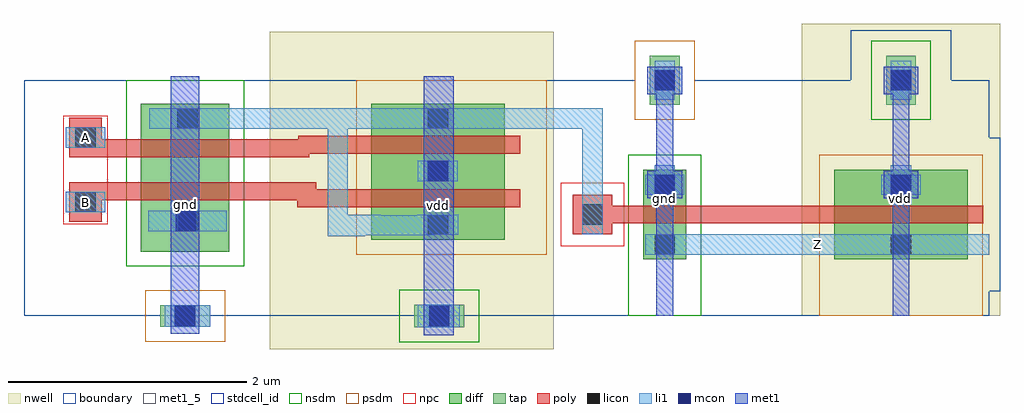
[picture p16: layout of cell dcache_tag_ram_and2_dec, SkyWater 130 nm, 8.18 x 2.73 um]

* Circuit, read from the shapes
.subckt dcache_tag_ram_and2_dec A B Z gnd vdd
XM1 n1 B gnd gnd sky130_fd_pr__nfet_01v8 w=0.74 l=0.15
XM2 dcache_tag_ram_pinv_dec_1/A A n1 gnd sky130_fd_pr__nfet_01v8 w=0.74 l=0.15
XM3 gnd dcache_tag_ram_pinv_dec_1/A Z gnd sky130_fd_pr__nfet_01v8 w=0.36 l=0.15
XM4 vdd B dcache_tag_ram_pinv_dec_1/A vdd sky130_fd_pr__pfet_01v8 w=1.12 l=0.15
XM5 dcache_tag_ram_pinv_dec_1/A A vdd vdd sky130_fd_pr__pfet_01v8 w=1.12 l=0.15
XM6 vdd dcache_tag_ram_pinv_dec_1/A Z vdd sky130_fd_pr__pfet_01v8 w=1.12 l=0.15
.ends

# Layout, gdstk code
from math import pi, radians
import gdstk
lib = gdstk.Library(unit=1e-6, precision=1e-09)
def R(c, l, rs):  # rectangles x0, y0, x1, y1
    for r in rs: c.add(gdstk.rectangle(r[:2], r[2:], *l))
nwell = (64, 20)
diff = (65, 20)
tap = (65, 44)
poly = (66, 20)
licon = (66, 44)
li1 = (67, 20)
mcon = (67, 44)
met1_5 = (68, 5)
met1 = (68, 20)
stdcell_id = (81, 4)
nsdm = (93, 44)
psdm = (94, 20)
npc = (95, 20)
boundary = (235, 4)

sky130_fd_bd_sram__openr = lib.new_cell('sky130_fd_bd_sram__openram_dp_nand2_dec')
R(sky130_fd_bd_sram__openr, nwell, [(2.06,-0.28,4.44,2.38)])
R(sky130_fd_bd_sram__openr, diff, [(0.98,0.54,1.72,1.78), (2.91,0.64,4.03,1.78)])
R(sky130_fd_bd_sram__openr, tap, [(3.27,-0.095,3.69,0.095), (1.14,-0.09,1.56,0.09)])
R(sky130_fd_bd_sram__openr, poly, [(0.38,0.79,0.65,0.97), (2.29,0.91,4.16,0.97), (0.38,0.97,4.16,1.06), (0.38,1.06,2.45,1.12), (0.38,1.33,2.39,1.36), (0.38,1.36,4.16,1.48), (0.38,1.48,0.65,1.66), (2.3,1.48,4.16,1.51)])
R(sky130_fd_bd_sram__openr, licon, [(1.265,-0.085,1.435,0.085), (3.395,-0.085,3.565,0.085), (3.385,0.68,3.555,0.85), (1.295,0.71,1.465,0.88), (0.43,0.87,0.6,1.04), (3.385,1.13,3.555,1.3), (0.43,1.41,0.6,1.58), (1.285,1.57,1.455,1.74), (3.385,1.57,3.555,1.74)])
R(sky130_fd_bd_sram__openr, li1, [(3.3,-0.095,3.65,0.095), (1.18,-0.09,1.56,0.09), (2.545,0.67,2.86,0.675), (2.545,0.675,3.425,0.68), (2.545,0.68,3.64,0.845), (1.04,0.71,1.7,0.88), (2.545,0.845,2.99,0.85), (3.3,0.845,3.64,0.85), (2.545,0.85,2.715,1.57), (0.35,0.87,0.68,1.04), (0.35,0.87,0.68,1.04), (3.3,1.13,3.635,1.3), (0.35,1.41,0.68,1.58), (0.35,1.41,0.68,1.58), (1.05,1.57,4.44,1.74), (1.05,1.57,4.44,1.74)])
R(sky130_fd_bd_sram__openr, mcon, [(1.265,-0.085,1.435,0.085), (3.395,-0.085,3.565,0.085), (1.27,0.71,1.44,0.88), (3.385,1.13,3.555,1.3)])
R(sky130_fd_bd_sram__openr, met1_5, [(3.35,-0.16,3.6,2.01), (1.23,-0.15,1.47,2.01)])
R(sky130_fd_bd_sram__openr, met1, [(3.35,-0.16,3.6,2.01), (3.35,-0.16,3.6,2.01), (1.23,-0.15,1.47,2.01), (1.23,-0.15,1.47,2.01)])
R(sky130_fd_bd_sram__openr, nsdm, [(3.145,-0.22,3.815,0.22), (0.855,0.415,1.845,1.975)])
R(sky130_fd_bd_sram__openr, psdm, [(1.015,-0.215,1.685,0.215), (2.785,0.515,4.38,1.975)])
R(sky130_fd_bd_sram__openr, npc, [(0.33,0.77,0.7,1.68)])
R(sky130_fd_bd_sram__openr, boundary, [(0,0,4.38,1.975)])
sky130_fd_bd_sram__openr.add(gdstk.Label('GND', (1.34,0.41), layer=68, texttype=16))
sky130_fd_bd_sram__openr.add(gdstk.Label('VDD', (3.48,0.47), layer=68, texttype=16))
sky130_fd_bd_sram__openr.add(gdstk.Label('B', (0.515,0.955), layer=67, texttype=16))
sky130_fd_bd_sram__openr.add(gdstk.Label('A', (0.515,1.495), layer=67, texttype=16))
sky130_fd_bd_sram__openr.add(gdstk.Label('Z', (4.27,1.655), layer=67, texttype=16))
sky130_fd_bd_sram__openr.add(gdstk.Label('A', (0.515,1.495), layer=67, texttype=5))
sky130_fd_bd_sram__openr.add(gdstk.Label('B', (0.515,0.955), layer=67, texttype=5))
sky130_fd_bd_sram__openr.add(gdstk.Label('Z', (2.745,1.655), layer=67, texttype=5))
sky130_fd_bd_sram__openr.add(gdstk.Label('vdd', (3.475,0.925), layer=68, texttype=5))
sky130_fd_bd_sram__openr.add(gdstk.Label('gnd', (1.35,0.93), layer=68, texttype=5))

dcache_tag_ram_contact_1 = lib.new_cell('dcache_tag_ram_contact_11')
R(dcache_tag_ram_contact_1, nwell, [(-0.295,-0.255,0.545,0.585)])
R(dcache_tag_ram_contact_1, diff, [(0,0.02,0.25,0.31)])
R(dcache_tag_ram_contact_1, licon, [(0.04,0.08,0.21,0.25)])
R(dcache_tag_ram_contact_1, li1, [(0.04,0,0.21,0.33)])
R(dcache_tag_ram_contact_1, stdcell_id, [(-0.295,-0.255,0.545,0.585)])
R(dcache_tag_ram_contact_1, psdm, [(-0.125,-0.105,0.375,0.435)])
R(dcache_tag_ram_contact_1, boundary, [(-0.295,-0.255,0.545,0.585)])

dcache_tag_ram_pmos_m1_w = lib.new_cell('dcache_tag_ram_pmos_m1_w1_120_sli_dli_da_p')
R(dcache_tag_ram_pmos_m1_w, nwell, [(-0.27,-0.27,1.02,1.39)])
R(dcache_tag_ram_pmos_m1_w, diff, [(0,0,0.75,1.12)])
R(dcache_tag_ram_pmos_m1_w, poly, [(0.3,-0.13,0.45,1.25), (0.3,-0.13,0.45,1.25)])
R(dcache_tag_ram_pmos_m1_w, li1, [(0.04,0.395,0.21,0.725), (0.54,0.395,0.71,0.725)])
R(dcache_tag_ram_pmos_m1_w, stdcell_id, [(-0.27,-0.27,1.02,1.39)])
R(dcache_tag_ram_pmos_m1_w, psdm, [(-0.125,-0.125,0.875,1.245)])
R(dcache_tag_ram_pmos_m1_w, boundary, [(-0.27,-0.27,1.02,1.39)])
dcache_tag_ram_pmos_m1_w.add(gdstk.Reference(dcache_tag_ram_contact_1, (0,0.395)))
dcache_tag_ram_pmos_m1_w.add(gdstk.Reference(dcache_tag_ram_contact_1, (0.5,0.395)))
dcache_tag_ram_pmos_m1_w.add(gdstk.Label('G', (0.375,0.56), layer=66, texttype=5))
dcache_tag_ram_pmos_m1_w.add(gdstk.Label('S', (0.125,0.56), layer=67, texttype=5))
dcache_tag_ram_pmos_m1_w.add(gdstk.Label('D', (0.625,0.56), layer=67, texttype=5))

c_dcache_tag_ram_contact_1 = lib.new_cell('dcache_tag_ram_contact_10')
R(c_dcache_tag_ram_contact_1, diff, [(0,0.02,0.25,0.31)])
R(c_dcache_tag_ram_contact_1, licon, [(0.04,0.08,0.21,0.25)])
R(c_dcache_tag_ram_contact_1, li1, [(0.04,0,0.21,0.33)])
R(c_dcache_tag_ram_contact_1, stdcell_id, [(-0.125,-0.105,0.375,0.435)])
R(c_dcache_tag_ram_contact_1, nsdm, [(-0.125,-0.105,0.375,0.435)])
R(c_dcache_tag_ram_contact_1, boundary, [(-0.125,-0.105,0.375,0.435)])

dcache_tag_ram_nmos_m1_w = lib.new_cell('dcache_tag_ram_nmos_m1_w0_360_sli_dli_da_p')
R(dcache_tag_ram_nmos_m1_w, diff, [(0,0,0.75,0.36)])
R(dcache_tag_ram_nmos_m1_w, poly, [(0.3,-0.13,0.45,0.49), (0.3,-0.13,0.45,0.49)])
R(dcache_tag_ram_nmos_m1_w, li1, [(0.04,0.015,0.21,0.345), (0.54,0.015,0.71,0.345)])
R(dcache_tag_ram_nmos_m1_w, stdcell_id, [(-0.125,-0.13,0.875,0.49)])
R(dcache_tag_ram_nmos_m1_w, nsdm, [(-0.125,-0.125,0.875,0.485)])
R(dcache_tag_ram_nmos_m1_w, boundary, [(-0.125,-0.13,0.875,0.49)])
dcache_tag_ram_nmos_m1_w.add(gdstk.Reference(c_dcache_tag_ram_contact_1, (0,0.015)))
dcache_tag_ram_nmos_m1_w.add(gdstk.Reference(c_dcache_tag_ram_contact_1, (0.5,0.015)))
dcache_tag_ram_nmos_m1_w.add(gdstk.Label('G', (0.375,0.18), layer=66, texttype=5))
dcache_tag_ram_nmos_m1_w.add(gdstk.Label('S', (0.125,0.18), layer=67, texttype=5))
dcache_tag_ram_nmos_m1_w.add(gdstk.Label('D', (0.625,0.18), layer=67, texttype=5))

c_dcache_tag_ram_contact_1_ = lib.new_cell('dcache_tag_ram_contact_12')
R(c_dcache_tag_ram_contact_1_, nwell, [(-0.295,-0.215,0.545,0.625)])
R(c_dcache_tag_ram_contact_1_, tap, [(0,0,0.25,0.41)])
R(c_dcache_tag_ram_contact_1_, licon, [(0.04,0.12,0.21,0.29)])
R(c_dcache_tag_ram_contact_1_, li1, [(0.04,0.04,0.21,0.37)])
R(c_dcache_tag_ram_contact_1_, stdcell_id, [(-0.295,-0.215,0.545,0.625)])
R(c_dcache_tag_ram_contact_1_, nsdm, [(-0.125,-0.125,0.375,0.535)])
R(c_dcache_tag_ram_contact_1_, boundary, [(-0.295,-0.215,0.545,0.625)])

c_dcache_tag_ram_contact_1__ = lib.new_cell('dcache_tag_ram_contact_13')
R(c_dcache_tag_ram_contact_1__, li1, [(0.06,0,0.23,0.33)])
R(c_dcache_tag_ram_contact_1__, mcon, [(0.06,0.08,0.23,0.25)])
R(c_dcache_tag_ram_contact_1__, met1, [(0,0.05,0.29,0.28)])
R(c_dcache_tag_ram_contact_1__, stdcell_id, [(0,0,0.29,0.33)])
R(c_dcache_tag_ram_contact_1__, boundary, [(0,0,0.29,0.33)])

c_dcache_tag_ram_contact_1___ = lib.new_cell('dcache_tag_ram_contact_14')
R(c_dcache_tag_ram_contact_1___, tap, [(0,0,0.25,0.41)])
R(c_dcache_tag_ram_contact_1___, licon, [(0.04,0.12,0.21,0.29)])
R(c_dcache_tag_ram_contact_1___, li1, [(0.04,0.04,0.21,0.37)])
R(c_dcache_tag_ram_contact_1___, stdcell_id, [(-0.125,-0.125,0.375,0.535)])
R(c_dcache_tag_ram_contact_1___, psdm, [(-0.125,-0.125,0.375,0.535)])
R(c_dcache_tag_ram_contact_1___, boundary, [(-0.125,-0.125,0.375,0.535)])

c_dcache_tag_ram_contact_1____ = lib.new_cell('dcache_tag_ram_contact_15')
R(c_dcache_tag_ram_contact_1____, poly, [(0,0,0.33,0.33)])
R(c_dcache_tag_ram_contact_1____, licon, [(0.08,0.08,0.25,0.25)])
R(c_dcache_tag_ram_contact_1____, li1, [(0.08,0,0.25,0.33)])
R(c_dcache_tag_ram_contact_1____, stdcell_id, [(-0.1,-0.1,0.43,0.43)])
R(c_dcache_tag_ram_contact_1____, npc, [(-0.1,-0.1,0.43,0.43)])
R(c_dcache_tag_ram_contact_1____, boundary, [(-0.1,-0.1,0.43,0.43)])

dcache_tag_ram_pinv_dec = lib.new_cell('dcache_tag_ram_pinv_dec')
R(dcache_tag_ram_pinv_dec, nwell, [(2.14,0,3.8,2.45)])
R(dcache_tag_ram_pinv_dec, poly, [(0.385,0.775,0.68,0.925), (1.3,0.775,2.28,0.925)])
R(dcache_tag_ram_pinv_dec, li1, [(0.825,0.515,3.71,0.685), (0.3,0.685,0.47,1.015)])
R(dcache_tag_ram_pinv_dec, met1_5, [(0.92,0,1.06,1.975), (2.9,0,3.04,1.975)])
R(dcache_tag_ram_pinv_dec, met1, [(0.92,0,1.06,1.975), (2.9,0,3.04,1.975)])
R(dcache_tag_ram_pinv_dec, stdcell_id, [(0,0,3.71,1.975), (0,0,3.71,1.975)])
R(dcache_tag_ram_pinv_dec, nsdm, [(0.685,0,1.295,1.225)])
R(dcache_tag_ram_pinv_dec, psdm, [(2.285,0,3.655,1.225)])
R(dcache_tag_ram_pinv_dec, boundary, [(0,0,3.71,1.975), (0,0,3.71,1.975)])
dcache_tag_ram_pinv_dec.add(gdstk.Reference(dcache_tag_ram_pmos_m1_w, (2.41,1.225), rotation=3*pi/2))
dcache_tag_ram_pinv_dec.add(gdstk.Reference(dcache_tag_ram_nmos_m1_w, (0.81,1.225), rotation=3*pi/2))
dcache_tag_ram_pinv_dec.add(gdstk.Reference(c_dcache_tag_ram_contact_1_, (2.845,1.77)))
dcache_tag_ram_pinv_dec.add(gdstk.Reference(c_dcache_tag_ram_contact_1__, (2.825,1.81)))
dcache_tag_ram_pinv_dec.add(gdstk.Reference(c_dcache_tag_ram_contact_1___, (0.865,1.77)))
dcache_tag_ram_pinv_dec.add(gdstk.Reference(c_dcache_tag_ram_contact_1__, (0.845,1.81)))
dcache_tag_ram_pinv_dec.add(gdstk.Reference(c_dcache_tag_ram_contact_1____, (0.22,0.685)))
dcache_tag_ram_pinv_dec.add(gdstk.Reference(c_dcache_tag_ram_contact_1__, (0.845,0.935)))
dcache_tag_ram_pinv_dec.add(gdstk.Reference(c_dcache_tag_ram_contact_1__, (2.825,0.935)))
dcache_tag_ram_pinv_dec.add(gdstk.Label('A', (0.385,0.85), layer=67, texttype=5))
dcache_tag_ram_pinv_dec.add(gdstk.Label('Z', (2.268,0.6), layer=67, texttype=5))
dcache_tag_ram_pinv_dec.add(gdstk.Label('gnd', (0.99,0.988), layer=68, texttype=5))
dcache_tag_ram_pinv_dec.add(gdstk.Label('vdd', (2.97,0.988), layer=68, texttype=5))

dcache_tag_ram_and2_dec = lib.new_cell('dcache_tag_ram_and2_dec')
R(dcache_tag_ram_and2_dec, li1, [(5.205,0.515,8.09,0.685), (4.68,0.85,4.85,1.655), (0.35,0.87,0.68,1.04), (0.35,1.41,0.68,1.58), (2.745,1.57,4.765,1.74), (4.68,1.57,4.85,1.74)])
R(dcache_tag_ram_and2_dec, met1_5, [(3.35,-0.16,3.6,2.01), (1.23,-0.15,1.47,2.01), (5.3,0,5.44,1.975), (7.28,0,7.42,1.975)])
R(dcache_tag_ram_and2_dec, met1, [(3.35,-0.16,3.6,2.01), (1.23,-0.15,1.47,2.01), (5.3,0,5.44,1.975), (7.28,0,7.42,1.975)])
R(dcache_tag_ram_and2_dec, stdcell_id, [(0,0,8.09,1.975)])
R(dcache_tag_ram_and2_dec, boundary, [(0,0,8.09,1.975)])
dcache_tag_ram_and2_dec.add(gdstk.Reference(sky130_fd_bd_sram__openr, (0,0)))
dcache_tag_ram_and2_dec.add(gdstk.Reference(dcache_tag_ram_pinv_dec, (4.38,0)))
dcache_tag_ram_and2_dec.add(gdstk.Label('Z', (6.648,0.6), layer=67, texttype=5))
dcache_tag_ram_and2_dec.add(gdstk.Label('A', (0.515,1.495), layer=67, texttype=5))
dcache_tag_ram_and2_dec.add(gdstk.Label('B', (0.515,0.955), layer=67, texttype=5))
dcache_tag_ram_and2_dec.add(gdstk.Label('vdd', (7.35,0.988), layer=68, texttype=5))
dcache_tag_ram_and2_dec.add(gdstk.Label('vdd', (3.475,0.925), layer=68, texttype=5))
dcache_tag_ram_and2_dec.add(gdstk.Label('gnd', (1.35,0.93), layer=68, texttype=5))
dcache_tag_ram_and2_dec.add(gdstk.Label('gnd', (5.37,0.988), layer=68, texttype=5))

lib.write_gds('dcache_tag_ram_and2_dec.gds')
